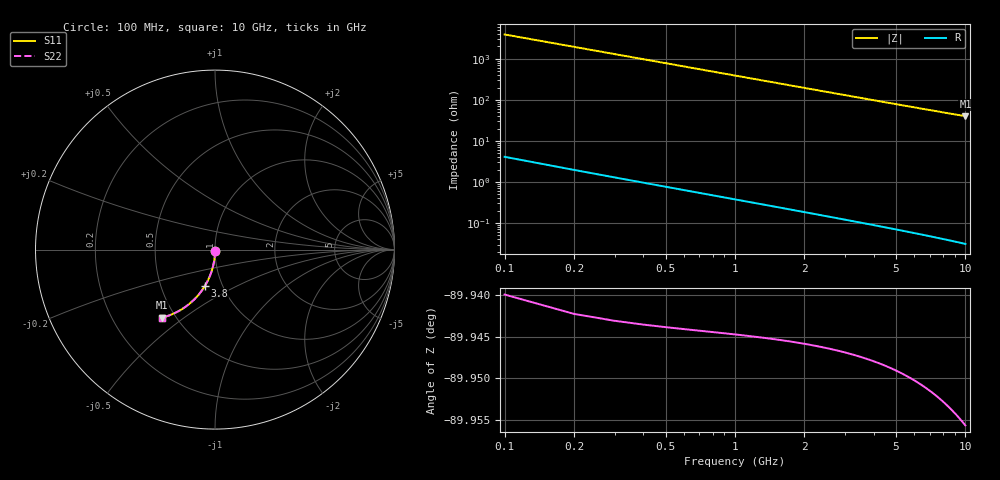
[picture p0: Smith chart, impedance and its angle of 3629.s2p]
# Hz S RI R 50.00
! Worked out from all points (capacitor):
!   100 points, 100 MHz to 10 GHz, reference 50 ohm
!   read as one part in shunt: C = 406 fF near 100 MHz
!   lowest |Z| = 40.2 ohm at 10 GHz (marker M1)
!   S11 on the Smith chart (normalised r, x): 100 MHz: 1.00, -0.01; 3.8 GHz: 0.83, -0.35; 10 GHz: 0.42, -0.42
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1e8  0.000279 -0.00561  0.9996 -0.00716  0.9996 -0.00716  0.000279 -0.00561
2e8  0.000154 -0.0112  0.9995 -0.0143  0.9995 -0.0143  0.000154 -0.0112
3e8  -5.11e-05 -0.0168  0.9993 -0.0215  0.9993 -0.0215  -5.11e-05 -0.0168
4e8  -0.000337 -0.0224  0.999 -0.0286  0.999 -0.0286  -0.000337 -0.0224
5e8  -0.000703 -0.028  0.9986 -0.0358  0.9986 -0.0358  -0.000703 -0.028
6e8  -0.00115 -0.0336  0.9981 -0.0429  0.9981 -0.0429  -0.00115 -0.0336
7e8  -0.00167 -0.0392  0.9976 -0.0501  0.9976 -0.0501  -0.00167 -0.0392
8e8  -0.00228 -0.0447  0.997 -0.0572  0.997 -0.0572  -0.00228 -0.0447
9e8  -0.00296 -0.0503  0.9963 -0.0643  0.9963 -0.0643  -0.00296 -0.0503
1.1e9  -0.00457 -0.0613  0.9946 -0.0785  0.9946 -0.0785  -0.00457 -0.0613
1.4e9  -0.00757 -0.0778  0.9915 -0.0996  0.9915 -0.0996  -0.00757 -0.0778
1.8e9  -0.0126 -0.0995  0.9863 -0.1276  0.9863 -0.1276  -0.0126 -0.0995
2.1e9  -0.0172 -0.1155  0.9815 -0.1482  0.9815 -0.1482  -0.0172 -0.1155
2.5e9  -0.0244 -0.1364  0.9742 -0.1754  0.9742 -0.1754  -0.0244 -0.1364
2.9e9  -0.0326 -0.1568  0.9656 -0.2021  0.9656 -0.2021  -0.0326 -0.1568
3.4e9  -0.0445 -0.1814  0.9534 -0.2345  0.9534 -0.2345  -0.0445 -0.1814
3.8e9  -0.0551 -0.2003  0.9425 -0.2597  0.9425 -0.2597  -0.0551 -0.2003
4.4e9  -0.0727 -0.2272  0.9243 -0.296  0.9243 -0.296  -0.0727 -0.2272
5.1e9  -0.0955 -0.2562  0.9006 -0.336  0.9006 -0.336  -0.0955 -0.2562
6.7e9  -0.1551 -0.3119  0.8386 -0.4171  0.8386 -0.4171  -0.1551 -0.3119
8.4e9  -0.2254 -0.3541  0.765 -0.4867  0.765 -0.4867  -0.2254 -0.3541
1e10  -0.2937 -0.3786  0.6929 -0.5372  0.6929 -0.5372  -0.2937 -0.3786
